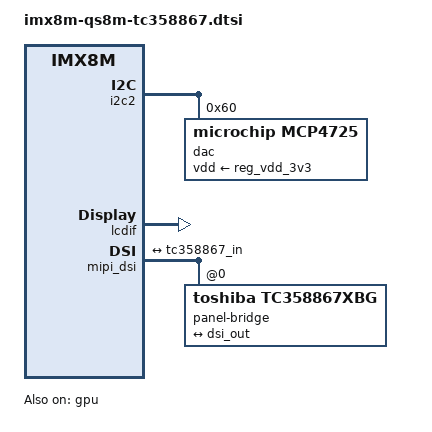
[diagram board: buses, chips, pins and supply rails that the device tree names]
// SPDX-License-Identifier: (GPL-2.0 OR MIT)
/*
 * Copyright (C) 2021 Markus Bauer <MB@KARO-electronics.de>
 *
 */

&gpu {
	status = "okay";
};

&i2c2 {
	status = "okay";

	dac@60 {
		compatible = "microchip,mcp4725";
		reg = <0x60>;
		vdd-supply = <&reg_vdd_3v3>;
	};
};

&lcdif {
	status = "okay";
};

&mipi_dsi {
	status = "okay";

	panel-bridge@0 {
		compatible = "toshiba,tc358867xbg";
		reg = <0>;

		port {
			tc358867_in: endpoint {
				remote-endpoint = <&dsi_out>;
			};
		};

		display-timings {
			lcd {
				// all EDT displays - Leave clock at 25175000!!!
				clock-frequency = <25175000>;
				hactive = <320>;
				vactive = <240>;
				hback-porch = <38>;
				hfront-porch = <20>;
				vback-porch = <14>;
				vfront-porch = <4>;
				hsync-len = <30>;
				vsync-len = <4>;
				hsync-active = <0>;
				vsync-active = <0>;
				de-active = <1>;
				pixelclk-active = <0>;
			};
		};

	};

	port@1 {
		reg = <1>;

		dsi_out: endpoint {
			remote-endpoint = <&tc358867_in>;
		};
	};
};
